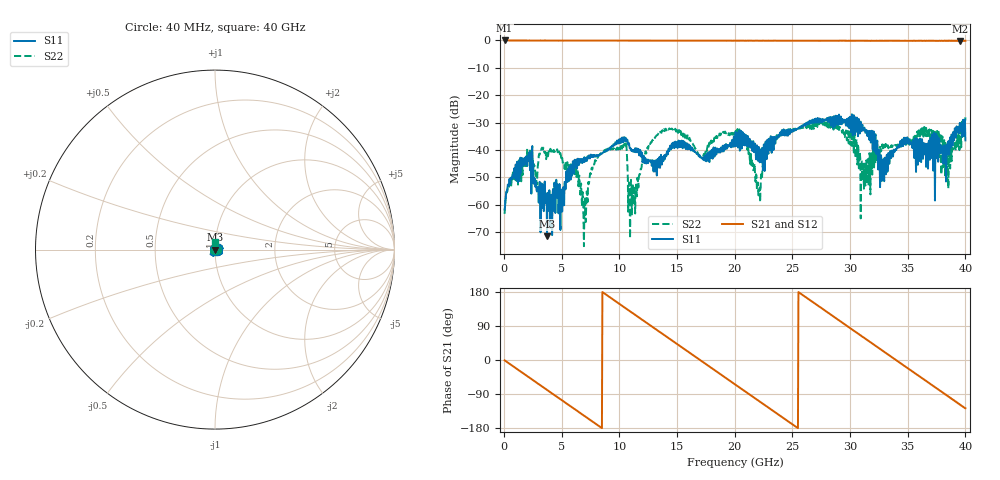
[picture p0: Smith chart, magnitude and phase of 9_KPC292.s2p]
! 10/23/2023 14:39:42
! D:\MS4647AVNA\292MM 230924XX\23092448.S2P
! CHANNEL.1
! TR.MEASUREMENT
! CORRECTED.DATA
# GHZ S RI R 50.0
! FREQ.GHZ  S11RE  S11IM  S21RE  S21IM  S12RE  S12IM  S22RE  S22IM
!; PortSelection: Port_12
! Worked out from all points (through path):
!   1000 points, 40 MHz to 40 GHz, reference 50 ohm
!   highest |S21| = 0.00 dB at 40 MHz (marker M1); lowest = -0.2 dB at 39.56 GHz (marker M2)
!   group delay of S21, straight-line fit = 58.9 ps
!   lowest |S11| = -71.4 dB at 3.72 GHz (marker M3), VSWR 1.00, Z = 50 - j0.0218 ohm
!   |S11| at or under -10 dB: start of sweep to end of sweep
!   |S22| runs from -75.1 to -28.0 dB; largest |S21 - S12| = 0.014
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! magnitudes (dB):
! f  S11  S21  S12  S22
! 40 MHz  -61.7  0.0  0.0  -63.3
! 2 GHz  -45.8  0.0  0.0  -39.5
! 3.72 GHz  -71.4  -0.1  0.0  -40.8
! 6.72 GHz  -43.9  0.0  0.0  -57.9
! 7.04 GHz  -43.8  0.0  0.0  -64.5
! 8.2 GHz  -41.9  -0.1  -0.1  -41.9
! 10.4 GHz  -35.3  0.0  0.0  -38.0
! 11.08 GHz  -39.9  0.0  -0.1  -63.8
! 13.36 GHz  -46.1  -0.1  -0.1  -34.1
! 17.08 GHz  -42.7  -0.1  -0.1  -42.5
! 20.04 GHz  -35.0  -0.1  -0.1  -33.4
! 22.12 GHz  -42.6  -0.1  -0.1  -55.3
! 23.04 GHz  -40.0  -0.1  -0.1  -36.3
! 26.68 GHz  -30.1  -0.1  -0.1  -32.4
! 30.08 GHz  -33.4  -0.1  -0.1  -32.9
! 31.12 GHz  -32.3  -0.1  -0.1  -45.0
! 32.76 GHz  -51.2  -0.1  -0.1  -38.7
! 33.36 GHz  -41.3  -0.1  -0.1  -38.9
! 36.44 GHz  -41.6  -0.1  -0.1  -31.5
! 38.44 GHz  -41.6  -0.2  -0.1  -38.2
! 39.56 GHz  -32.5  -0.2  -0.1  -30.8
! 40 GHz  -36.5  -0.1  -0.1  -28.0
